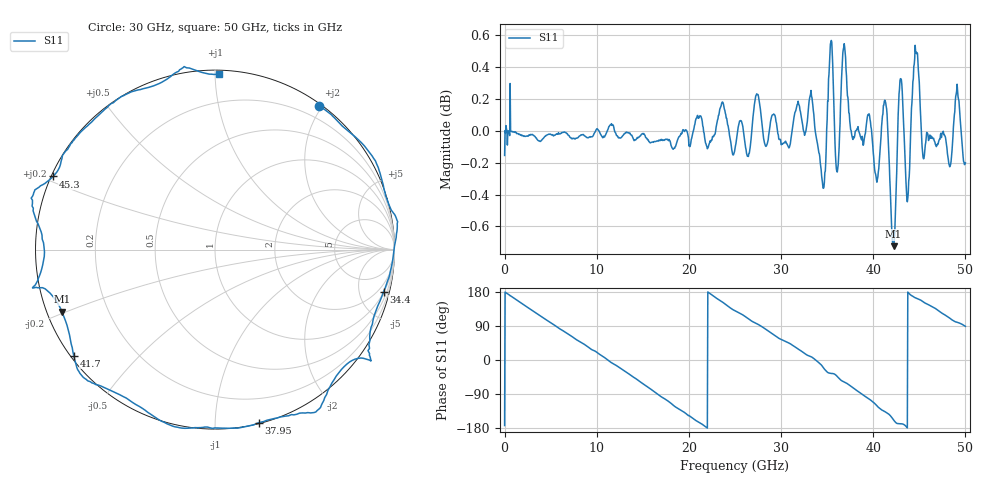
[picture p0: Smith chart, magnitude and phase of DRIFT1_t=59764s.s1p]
!Created with skrf (http://scikit-rf.org).
# Hz S RI R 50.0
!freq ReS11 ImS11
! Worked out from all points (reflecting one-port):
!   1001 points, 300 kHz to 50 GHz, reference 50 ohm
!   lowest |S11| = -0.7 dB at 42.2 GHz (marker M1), VSWR 24.03, Z = 2.16 - j9.74 ohm
!   phase of S11 starts at -173 deg and turns -818 deg over the sweep
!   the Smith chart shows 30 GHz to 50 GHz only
!   S11 on the Smith chart (normalised r, x): 30 GHz: 0.02, +1.95; 34.4 GHz: 1.07, -7.98; 37.95 GHz: 0.01, -1.28; 41.7 GHz: 0.01, -0.33; 45.3 GHz: 0.01, +0.22; 50 GHz: 0.02, +1.02
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300000  -0.975 -0.1202
1.450291e9  -0.9124 0.4042
3.25028e9  -0.5929 0.8005
6.250262e9  0.1993 0.9787
9.500243e9  0.8887 0.449
1.250022e10  0.9309 -0.3511
1.580021e10  0.2415 -0.9614
1.74002e10  -0.2223 -0.9683
1.875019e10  -0.5981 -0.7928
2.160017e10  -0.9902 -0.133
2.345016e10  -0.9297 0.4131
2.500015e10  -0.6298 0.7603
2.745014e10  -0.0843 1.023
3.000012e10  0.5794 0.8028
3.125011e10  0.7835 0.6262
3.31501e10  1.011 0.1737
3.440009e10  0.939 -0.2349
3.520009e10  0.86 -0.588
3.750008e10  0.3762 -0.9304
3.795007e10  0.2437 -0.9649
3.960006e10  -0.238 -0.9827
4.170005e10  -0.7869 -0.5904
4.220005e10  -0.8525 -0.3461
4.290004e10  -1.014 -0.2143
4.375004e10  -0.9524 0.0128
4.530003e10  -0.9009 0.4075
4.770001e10  -0.4998 0.8631
5e10  0.0199 0.9769
